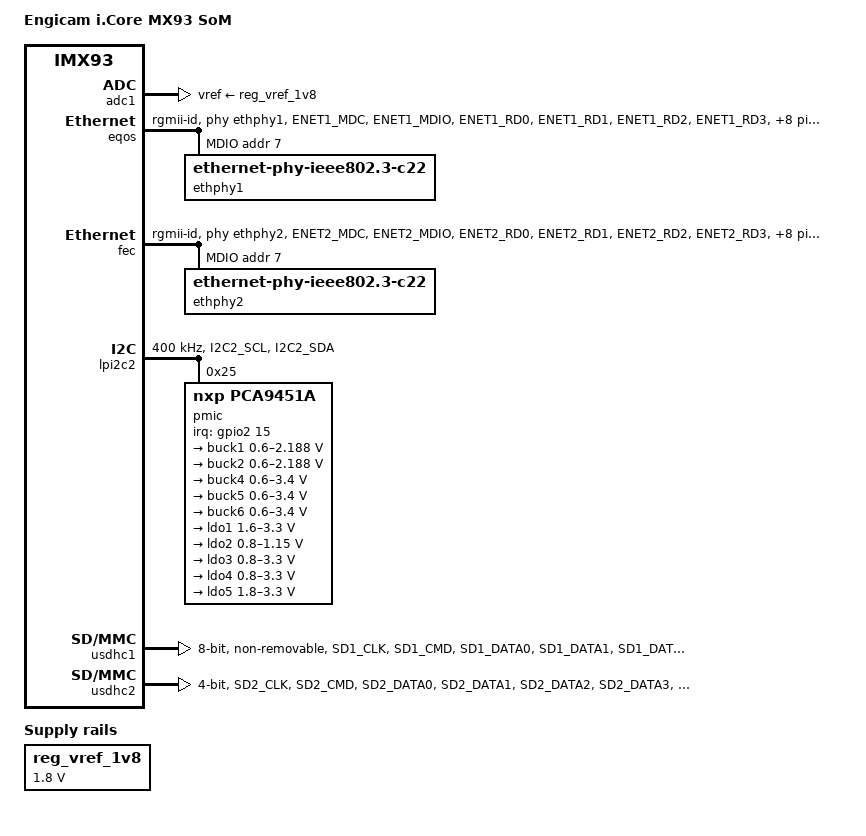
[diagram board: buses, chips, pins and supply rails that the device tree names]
// SPDX-License-Identifier: (GPL-2.0+ OR MIT)
/*
 * Copyright 2022 NXP
 * Copyright 2024 Engicam s.r.l.
 */

/dts-v1/;

#include "imx93.dtsi"

/ {
	model = "Engicam i.Core MX93 SoM";
	compatible = "engicam,icore-mx93", "fsl,imx93";

	reg_vref_1v8: regulator-adc-vref {
		compatible = "regulator-fixed";
		regulator-name = "vref_1v8";
		regulator-min-microvolt = <1800000>;
		regulator-max-microvolt = <1800000>;
	};
};

&adc1 {
	vref-supply = <&reg_vref_1v8>;
	status = "okay";
};

&eqos {
	pinctrl-names = "default";
	pinctrl-0 = <&pinctrl_eqos>;
	phy-mode = "rgmii-id";
	phy-handle = <&ethphy1>;
	status = "okay";

	mdio {
		compatible = "snps,dwmac-mdio";
		#address-cells = <1>;
		#size-cells = <0>;

		ethphy1: ethernet-phy@7 {
			compatible = "ethernet-phy-ieee802.3-c22";
			reg = <7>;
		};
	};
};

&fec {
	pinctrl-names = "default";
	pinctrl-0 = <&pinctrl_fec>;
	phy-mode = "rgmii-id";
	phy-handle = <&ethphy2>;
	fsl,magic-packet;
	status = "okay";

	mdio {
		#address-cells = <1>;
		#size-cells = <0>;

		ethphy2: ethernet-phy@7 {
			compatible = "ethernet-phy-ieee802.3-c22";
			reg = <7>;
		};
	};
};

&lpi2c2 {
	#address-cells = <1>;
	#size-cells = <0>;
	clock-frequency = <400000>;
	pinctrl-names = "default", "sleep";
	pinctrl-0 = <&pinctrl_lpi2c2>;
	pinctrl-1 = <&pinctrl_lpi2c2>;
	status = "okay";

	pmic@25 {
		compatible = "nxp,pca9451a";
		reg = <0x25>;
		nxp,wdog_b-warm-reset;

		interrupt-parent = <&gpio2>;
		interrupts = <15 IRQ_TYPE_LEVEL_LOW>;

		regulators {
			buck1: BUCK1 {
				regulator-name = "BUCK1";
				regulator-min-microvolt = <600000>;
				regulator-max-microvolt = <2187500>;
				regulator-boot-on;
				regulator-always-on;
				regulator-ramp-delay = <3125>;
			};

			buck2: BUCK2 {
				regulator-name = "BUCK2";
				regulator-min-microvolt = <600000>;
				regulator-max-microvolt = <2187500>;
				regulator-boot-on;
				regulator-always-on;
				regulator-ramp-delay = <3125>;
			};

			buck4: BUCK4{
				regulator-name = "BUCK4";
				regulator-min-microvolt = <600000>;
				regulator-max-microvolt = <3400000>;
				regulator-boot-on;
				regulator-always-on;
			};

			buck5: BUCK5{
				regulator-name = "BUCK5";
				regulator-min-microvolt = <600000>;
				regulator-max-microvolt = <3400000>;
				regulator-boot-on;
				regulator-always-on;
			};

			buck6: BUCK6 {
				regulator-name = "BUCK6";
				regulator-min-microvolt = <600000>;
				regulator-max-microvolt = <3400000>;
				regulator-boot-on;
				regulator-always-on;
			};

			ldo1: LDO1 {
				regulator-name = "LDO1";
				regulator-min-microvolt = <1600000>;
				regulator-max-microvolt = <3300000>;
				regulator-boot-on;
				regulator-always-on;
			};

			ldo2: LDO2 {
				regulator-name = "LDO2";
				regulator-min-microvolt = <800000>;
				regulator-max-microvolt = <1150000>;
				regulator-boot-on;
				regulator-always-on;
			};

			ldo3: LDO3 {
				regulator-name = "LDO3";
				regulator-min-microvolt = <800000>;
				regulator-max-microvolt = <3300000>;
				regulator-boot-on;
				regulator-always-on;
			};

			ldo4: LDO4 {
				regulator-name = "LDO4";
				regulator-min-microvolt = <800000>;
				regulator-max-microvolt = <3300000>;
				regulator-boot-on;
				regulator-always-on;
			};

			ldo5: LDO5 {
				regulator-name = "LDO5";
				regulator-min-microvolt = <1800000>;
				regulator-max-microvolt = <3300000>;
				regulator-boot-on;
				regulator-always-on;
			};
		};
	};
};

&usdhc1 {
	pinctrl-names = "default", "state_100mhz", "state_200mhz";
	pinctrl-0 = <&pinctrl_usdhc1>;
	pinctrl-1 = <&pinctrl_usdhc1>;
	pinctrl-2 = <&pinctrl_usdhc1>;
	bus-width = <8>;
	non-removable;
	status = "okay";
};

&usdhc2 {/*SD Card*/
	pinctrl-names = "default", "state_100mhz", "state_200mhz";
	pinctrl-0 = <&pinctrl_usdhc2>, <&pinctrl_usdhc2_gpio>;
	pinctrl-1 = <&pinctrl_usdhc2>, <&pinctrl_usdhc2_gpio>;
	pinctrl-2 = <&pinctrl_usdhc2>, <&pinctrl_usdhc2_gpio>;
	cd-gpios = <&gpio3 00 GPIO_ACTIVE_LOW>;
	bus-width = <4>;
	no-1-8-v;
	max-frequency = <25000000>;
	status = "okay";
};

&iomuxc {

	pinctrl_eqos: eqosgrp {
		fsl,pins = <
			MX93_PAD_ENET1_MDC__ENET_QOS_MDC                        0x53e
			MX93_PAD_ENET1_MDIO__ENET_QOS_MDIO                      0x53e
			MX93_PAD_ENET1_RD0__ENET_QOS_RGMII_RD0                  0x53e
			MX93_PAD_ENET1_RD1__ENET_QOS_RGMII_RD1                  0x53e
			MX93_PAD_ENET1_RD2__ENET_QOS_RGMII_RD2                  0x53e
			MX93_PAD_ENET1_RD3__ENET_QOS_RGMII_RD3                  0x53e
			MX93_PAD_ENET1_RXC__CCM_ENET_QOS_CLOCK_GENERATE_RX_CLK  0x53e
			MX93_PAD_ENET1_RX_CTL__ENET_QOS_RGMII_RX_CTL            0x53e
			MX93_PAD_ENET1_TD0__ENET_QOS_RGMII_TD0                  0x53e
			MX93_PAD_ENET1_TD1__ENET_QOS_RGMII_TD1                  0x53e
			MX93_PAD_ENET1_TD2__ENET_QOS_RGMII_TD2                  0x53e
			MX93_PAD_ENET1_TD3__ENET_QOS_RGMII_TD3                  0x53e
			MX93_PAD_ENET1_TXC__CCM_ENET_QOS_CLOCK_GENERATE_TX_CLK  0x53e
			MX93_PAD_ENET1_TX_CTL__ENET_QOS_RGMII_TX_CTL            0x53e
		>;
	};

	pinctrl_fec: fecgrp {
		fsl,pins = <
			MX93_PAD_ENET2_MDC__ENET1_MDC                   0x57e
			MX93_PAD_ENET2_MDIO__ENET1_MDIO                 0x57e
			MX93_PAD_ENET2_RD0__ENET1_RGMII_RD0             0x57e
			MX93_PAD_ENET2_RD1__ENET1_RGMII_RD1             0x57e
			MX93_PAD_ENET2_RD2__ENET1_RGMII_RD2             0x57e
			MX93_PAD_ENET2_RD3__ENET1_RGMII_RD3             0x57e
			MX93_PAD_ENET2_RXC__ENET1_RGMII_RXC             0x5fe
			MX93_PAD_ENET2_RX_CTL__ENET1_RGMII_RX_CTL       0x57e
			MX93_PAD_ENET2_TD0__ENET1_RGMII_TD0             0x57e
			MX93_PAD_ENET2_TD1__ENET1_RGMII_TD1             0x57e
			MX93_PAD_ENET2_TD2__ENET1_RGMII_TD2             0x57e
			MX93_PAD_ENET2_TD3__ENET1_RGMII_TD3             0x57e
			MX93_PAD_ENET2_TXC__ENET1_RGMII_TXC             0x5fe
			MX93_PAD_ENET2_TX_CTL__ENET1_RGMII_TX_CTL       0x57e
		>;
	};

	pinctrl_lpi2c2: lpi2c2grp {
		fsl,pins = <
			MX93_PAD_I2C2_SCL__LPI2C2_SCL			0x40000b9e
			MX93_PAD_I2C2_SDA__LPI2C2_SDA			0x40000b9e
		>;
	};

	pinctrl_usdhc1: usdhc1grp {
		fsl,pins = <
			MX93_PAD_SD1_CLK__USDHC1_CLK		0x15fe
			MX93_PAD_SD1_CMD__USDHC1_CMD		0x13fe
			MX93_PAD_SD1_DATA0__USDHC1_DATA0	0x13fe
			MX93_PAD_SD1_DATA1__USDHC1_DATA1	0x13fe
			MX93_PAD_SD1_DATA2__USDHC1_DATA2	0x13fe
			MX93_PAD_SD1_DATA3__USDHC1_DATA3	0x13fe
			MX93_PAD_SD1_DATA4__USDHC1_DATA4	0x13fe
			MX93_PAD_SD1_DATA5__USDHC1_DATA5	0x13fe
			MX93_PAD_SD1_DATA6__USDHC1_DATA6	0x13fe
			MX93_PAD_SD1_DATA7__USDHC1_DATA7	0x13fe
			MX93_PAD_SD1_STROBE__USDHC1_STROBE	0x15fe
		>;
	};

	pinctrl_usdhc2: usdhc2grp {
		fsl,pins = <
			MX93_PAD_SD2_CLK__USDHC2_CLK			0x170e
			MX93_PAD_SD2_CMD__USDHC2_CMD			0x130e
			MX93_PAD_SD2_DATA0__USDHC2_DATA0		0x130e
			MX93_PAD_SD2_DATA1__USDHC2_DATA1        0x130e
			MX93_PAD_SD2_DATA2__USDHC2_DATA2        0x130e
			MX93_PAD_SD2_DATA3__USDHC2_DATA3        0x130e
			MX93_PAD_SD2_VSELECT__USDHC2_VSELECT	0x51e
		>;
	};

	pinctrl_usdhc2_gpio: usdhc2gpiogrp {
		fsl,pins = <
			MX93_PAD_SD2_CD_B__GPIO3_IO00		0x31e
		>;
	};
};
